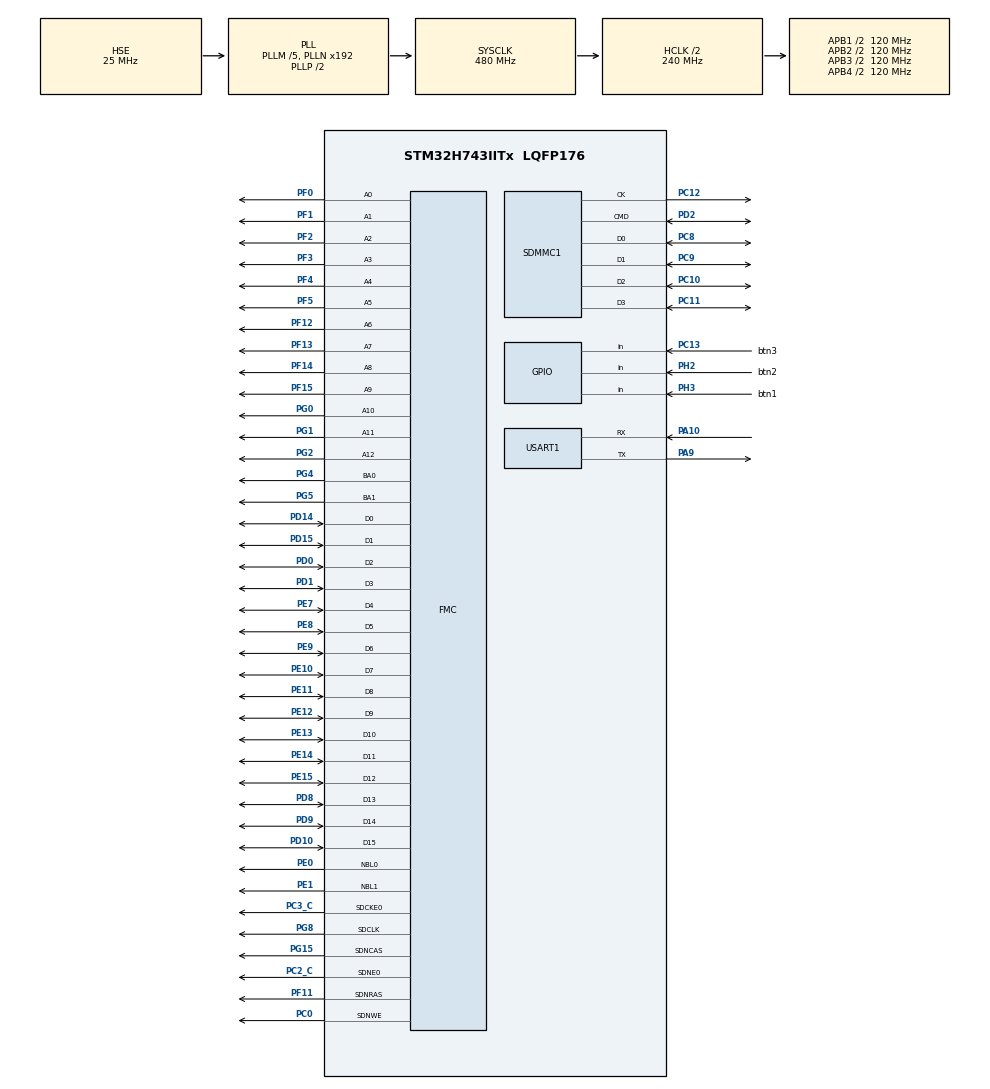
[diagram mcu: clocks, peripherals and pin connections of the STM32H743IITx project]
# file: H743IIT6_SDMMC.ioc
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CORTEX_M7.CPU_ICache=Disabled
CORTEX_M7.MPU_Control=__NULL
CORTEX_M7.default_mode_Activation=1
Dma.Request0=USART1_RX
Dma.Request1=USART1_TX
Dma.USART1_RX.0.Direction=DMA_PERIPH_TO_MEMORY
Dma.USART1_RX.0.EventEnable=DISABLE
Dma.USART1_RX.0.FIFOMode=DMA_FIFOMODE_DISABLE
Dma.USART1_RX.0.Instance=DMA1_Stream0
Dma.USART1_RX.0.MemDataAlignment=DMA_MDATAALIGN_BYTE
Dma.USART1_RX.0.MemInc=DMA_MINC_ENABLE
Dma.USART1_RX.0.Mode=DMA_NORMAL
Dma.USART1_RX.0.PeriphDataAlignment=DMA_PDATAALIGN_BYTE
Dma.USART1_RX.0.PeriphInc=DMA_PINC_DISABLE
Dma.USART1_RX.0.Polarity=HAL_DMAMUX_REQ_GEN_RISING
Dma.USART1_RX.0.Priority=DMA_PRIORITY_LOW
Dma.USART1_RX.0.RequestNumber=1
Dma.USART1_RX.0.SignalID=NONE
Dma.USART1_RX.0.SyncEnable=DISABLE
Dma.USART1_RX.0.SyncPolarity=HAL_DMAMUX_SYNC_NO_EVENT
Dma.USART1_RX.0.SyncRequestNumber=1
Dma.USART1_RX.0.SyncSignalID=NONE
Dma.USART1_TX.1.Direction=DMA_MEMORY_TO_PERIPH
Dma.USART1_TX.1.EventEnable=DISABLE
Dma.USART1_TX.1.FIFOMode=DMA_FIFOMODE_DISABLE
Dma.USART1_TX.1.Instance=DMA1_Stream1
Dma.USART1_TX.1.MemDataAlignment=DMA_MDATAALIGN_BYTE
Dma.USART1_TX.1.MemInc=DMA_MINC_ENABLE
Dma.USART1_TX.1.Mode=DMA_NORMAL
Dma.USART1_TX.1.PeriphDataAlignment=DMA_PDATAALIGN_BYTE
Dma.USART1_TX.1.PeriphInc=DMA_PINC_DISABLE
Dma.USART1_TX.1.Polarity=HAL_DMAMUX_REQ_GEN_RISING
Dma.USART1_TX.1.Priority=DMA_PRIORITY_LOW
Dma.USART1_TX.1.RequestNumber=1
Dma.USART1_TX.1.SignalID=NONE
Dma.USART1_TX.1.SyncEnable=DISABLE
Dma.USART1_TX.1.SyncPolarity=HAL_DMAMUX_SYNC_NO_EVENT
Dma.USART1_TX.1.SyncRequestNumber=1
Dma.USART1_TX.1.SyncSignalID=NONE
FATFS._CODE_PAGE=936
FATFS._USE_LFN=3
FMC.CASLatency1=FMC_SDRAM_CAS_LATENCY_2
FMC.ColumnBitsNumber1=FMC_SDRAM_COLUMN_BITS_NUM_9
FMC.ExitSelfRefreshDelay1=8
FMC.LoadToActiveDelay1=2
FMC.RCDDelay1=2
FMC.RPDelay1=2
FMC.RPDelay2=2
FMC.ReadBurst1=FMC_SDRAM_RBURST_ENABLE
FMC.ReadBurst2=FMC_SDRAM_RBURST_ENABLE
FMC.ReadPipeDelay1=FMC_SDRAM_RPIPE_DELAY_1
FMC.ReadPipeDelay2=FMC_SDRAM_RPIPE_DELAY_1
FMC.RowCycleDelay1=6
FMC.RowCycleDelay2=6
FMC.SDClockPeriod1=FMC_SDRAM_CLOCK_PERIOD_2
FMC.SDClockPeriod2=FMC_SDRAM_CLOCK_PERIOD_2
FMC.SelfRefreshTime1=6
FMC.WriteRecoveryTime1=4
Mcu.Family=STM32H7
Mcu.Name=STM32H743IITx
Mcu.Package=LQFP176
NVIC.DMA1_Stream0_IRQn=true\:0\:0\:false\:false\:true\:false\:true\:true
NVIC.DMA1_Stream1_IRQn=true\:0\:0\:false\:false\:true\:false\:true\:true
NVIC.FMC_IRQn=true\:0\:0\:false\:false\:true\:true\:true\:true
NVIC.PriorityGroup=NVIC_PRIORITYGROUP_4
NVIC.SDMMC1_IRQn=true\:1\:0\:true\:false\:true\:true\:true\:true
NVIC.TIM2_IRQn=true\:0\:0\:false\:false\:true\:true\:true\:true
NVIC.USART1_IRQn=true\:0\:0\:false\:false\:true\:true\:true\:true
PA10.Mode=Asynchronous
PA10.Signal=USART1_RX
PA13\ (JTMS/SWDIO).Mode=Serial_Wire
PA13\ (JTMS/SWDIO).Signal=DEBUG_JTMS-SWDIO
PA14\ (JTCK/SWCLK).Mode=Serial_Wire
PA14\ (JTCK/SWCLK).Signal=DEBUG_JTCK-SWCLK
PA9.Mode=Asynchronous
PA9.Signal=USART1_TX
PC0.Signal=FMC_SDNWE
PC10.Mode=SD_4_bits_Wide_bus
PC10.Signal=SDMMC1_D2
PC11.Mode=SD_4_bits_Wide_bus
PC11.Signal=SDMMC1_D3
PC12.Mode=SD_4_bits_Wide_bus
PC12.Signal=SDMMC1_CK
PC13.GPIO_Label=btn3
PC13.GPIO_PuPd=GPIO_PULLUP
PC13.Signal=GPIO_Input
PC14-OSC32_IN\ (OSC32_IN).Mode=LSE-External-Oscillator
PC14-OSC32_IN\ (OSC32_IN).Signal=RCC_OSC32_IN
PC15-OSC32_OUT\ (OSC32_OUT).Mode=LSE-External-Oscillator
PC15-OSC32_OUT\ (OSC32_OUT).Signal=RCC_OSC32_OUT
PC2_C.Mode=SdramChipSelect1_1
PC2_C.Signal=FMC_SDNE0
PC3_C.Mode=SdramChipSelect1_1
PC3_C.Signal=FMC_SDCKE0
PC8.Mode=SD_4_bits_Wide_bus
PC8.Signal=SDMMC1_D0
PC9.Mode=SD_4_bits_Wide_bus
PC9.Signal=SDMMC1_D1
PD0.Signal=FMC_D2_DA2
PD1.Signal=FMC_D3_DA3
PD10.Signal=FMC_D15_DA15
PD14.Signal=FMC_D0_DA0
PD15.Signal=FMC_D1_DA1
PD2.Mode=SD_4_bits_Wide_bus
PD2.Signal=SDMMC1_CMD
PD8.Signal=FMC_D13_DA13
PD9.Signal=FMC_D14_DA14
PE0.Signal=FMC_NBL0
PE1.Signal=FMC_NBL1
PE10.Signal=FMC_D7_DA7
PE11.Signal=FMC_D8_DA8
PE12.Signal=FMC_D9_DA9
PE13.Signal=FMC_D10_DA10
PE14.Signal=FMC_D11_DA11
PE15.Signal=FMC_D12_DA12
PE7.Signal=FMC_D4_DA4
PE8.Signal=FMC_D5_DA5
PE9.Signal=FMC_D6_DA6
PF0.Signal=FMC_A0
PF1.Signal=FMC_A1
PF11.Signal=FMC_SDNRAS
PF12.Signal=FMC_A6
PF13.Signal=FMC_A7
PF14.Signal=FMC_A8
PF15.Signal=FMC_A9
PF2.Signal=FMC_A2
PF3.Signal=FMC_A3
PF4.Signal=FMC_A4
PF5.Signal=FMC_A5
PG0.Signal=FMC_A10
PG1.Signal=FMC_A11
PG15.Signal=FMC_SDNCAS
PG2.Signal=FMC_A12
PG4.Signal=FMC_A14_BA0
PG5.Signal=FMC_A15_BA1
PG8.Signal=FMC_SDCLK
PH0-OSC_IN\ (PH0).Mode=HSE-External-Oscillator
PH0-OSC_IN\ (PH0).Signal=RCC_OSC_IN
PH1-OSC_OUT\ (PH1).Mode=HSE-External-Oscillator
PH1-OSC_OUT\ (PH1).Signal=RCC_OSC_OUT
PH2.GPIO_Label=btn2
PH2.GPIO_PuPd=GPIO_PULLUP
PH2.Signal=GPIO_Input
PH3.GPIO_Label=btn1
PH3.GPIO_PuPd=GPIO_PULLUP
PH3.Signal=GPIO_Input
ProjectManager.HeapSize=0x800
ProjectManager.StackSize=0x800
ProjectManager.TargetToolchain=STM32CubeIDE
RCC.ADCFreq_Value=480000000
RCC.APB1Freq_Value=120000000
RCC.APB2Freq_Value=120000000
RCC.APB3Freq_Value=120000000
RCC.APB4Freq_Value=120000000
RCC.CortexFreq_Value=480000000
RCC.D1PPRE=RCC_APB3_DIV2
RCC.D2PPRE1=RCC_APB1_DIV2
RCC.D2PPRE2=RCC_APB2_DIV2
RCC.D3PPRE=RCC_APB4_DIV2
RCC.DIVM1=5
RCC.DIVM2=5
RCC.DIVM3=25
RCC.DIVN1=192
RCC.DIVN2=192
RCC.DIVN3=440
RCC.DIVR2=12
RCC.HCLKFreq_Value=240000000
RCC.HPRE=RCC_HCLK_DIV2
RCC.PLLSourceVirtual=RCC_PLLSOURCE_HSE
RCC.RTCClockSelection=RCC_RTCCLKSOURCE_LSE
RCC.SDMMC1CLockSelection=RCC_SDMMCCLKSOURCE_PLL2
RCC.SYSCLKFreq_VALUE=480000000
RCC.SYSCLKSource=RCC_SYSCLKSOURCE_PLLCLK
RCC.USBFreq_Value=480000000
RTC.Date=15
RTC.Format=RTC_FORMAT_BIN
RTC.Hours=11
RTC.Minutes=11
RTC.Month=RTC_MONTH_JULY
RTC.Seconds=11
RTC.WeekDay=RTC_WEEKDAY_TUESDAY
SDMMC1.ClockDiv=5
SH.FMC_A0.0=FMC_A0,13b-sda1
SH.FMC_A1.0=FMC_A1,13b-sda1
SH.FMC_A10.0=FMC_A10,13b-sda1
SH.FMC_A11.0=FMC_A11,13b-sda1
SH.FMC_A12.0=FMC_A12,13b-sda1
SH.FMC_A14_BA0.0=FMC_BA0,FourSdramBanks1
SH.FMC_A15_BA1.0=FMC_BA1,FourSdramBanks1
SH.FMC_A2.0=FMC_A2,13b-sda1
SH.FMC_A3.0=FMC_A3,13b-sda1
SH.FMC_A4.0=FMC_A4,13b-sda1
SH.FMC_A5.0=FMC_A5,13b-sda1
SH.FMC_A6.0=FMC_A6,13b-sda1
SH.FMC_A7.0=FMC_A7,13b-sda1
SH.FMC_A8.0=FMC_A8,13b-sda1
SH.FMC_A9.0=FMC_A9,13b-sda1
SH.FMC_D0_DA0.0=FMC_D0,sd-16b-d1
SH.FMC_D10_DA10.0=FMC_D10,sd-16b-d1
SH.FMC_D11_DA11.0=FMC_D11,sd-16b-d1
SH.FMC_D12_DA12.0=FMC_D12,sd-16b-d1
SH.FMC_D13_DA13.0=FMC_D13,sd-16b-d1
SH.FMC_D14_DA14.0=FMC_D14,sd-16b-d1
SH.FMC_D15_DA15.0=FMC_D15,sd-16b-d1
SH.FMC_D1_DA1.0=FMC_D1,sd-16b-d1
SH.FMC_D2_DA2.0=FMC_D2,sd-16b-d1
SH.FMC_D3_DA3.0=FMC_D3,sd-16b-d1
SH.FMC_D4_DA4.0=FMC_D4,sd-16b-d1
SH.FMC_D5_DA5.0=FMC_D5,sd-16b-d1
SH.FMC_D6_DA6.0=FMC_D6,sd-16b-d1
SH.FMC_D7_DA7.0=FMC_D7,sd-16b-d1
SH.FMC_D8_DA8.0=FMC_D8,sd-16b-d1
SH.FMC_D9_DA9.0=FMC_D9,sd-16b-d1
SH.FMC_NBL0.0=FMC_NBL0,Sd2ByteEnable1
SH.FMC_NBL1.0=FMC_NBL1,Sd2ByteEnable1
SH.FMC_SDCLK.0=FMC_SDCLK,13b-sda1
SH.FMC_SDNCAS.0=FMC_SDNCAS,13b-sda1
SH.FMC_SDNRAS.0=FMC_SDNRAS,13b-sda1
SH.FMC_SDNWE.0=FMC_SDNWE,13b-sda1
TIM2.Period=10000-1
TIM2.Prescaler=24000-1
USART1.VirtualMode-Asynchronous=VM_ASYNC
VP_FATFS_VS_SDIO.Mode=SDIO
VP_MEMORYMAP_VS_MEMORYMAP.Mode=CurAppReg
VP_RTC_VS_RTC_Activate.Mode=RTC_Enabled
VP_RTC_VS_RTC_Calendar.Mode=RTC_Calendar
VP_TIM2_VS_ClockSourceINT.Mode=Internal
board=custom

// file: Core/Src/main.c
/* USER CODE BEGIN Header */
/**
  ******************************************************************************
  * @file           : main.c
  * @brief          : Main program body
  ******************************************************************************
  * @attention
  *
  * Copyright (c) 2025 STMicroelectronics.
  * All rights reserved.
  *
  * This software is licensed under terms that can be found in the LICENSE file
  * in the root directory of this software component.
  * If no LICENSE file comes with this software, it is provided AS-IS.
  *
  ******************************************************************************
  */
/* USER CODE END Header */
#include "main.h"
#include "dma.h"
#include "fatfs.h"
#include "rtc.h"
#include "sdmmc.h"
#include "tim.h"
#include "usart.h"
#include "gpio.h"
#include "fmc.h"

/* USER CODE BEGIN Includes */
#include "string.h"
#include "retarget.h"		//printf函数重映射

#include "sys/sys.h"
#include "delay/delay.h"
#include "button_event/Button_event.h"
//#include "RGB_LCD/RGB_LCD.h"
#include "W9825G6KH/W9825G6KH.h"
#include "sdram/sdram_test.h"
#include "sd_card/sd_card.h"

/* USER CODE END Includes */

/* USER CODE BEGIN PV */

uint16_t fps = 0, fps_max = 0;

//uint16_t testsram[250000] __attribute__((section(".sdram_section")));//sdram测试用数组

/* USER CODE END PV */

void SystemClock_Config(void);

/* USER CODE BEGIN 0 */

//重定义'定时器周期回调'函数
void HAL_TIM_PeriodElapsedCallback(TIM_HandleTypeDef *htim){	//1S周期回调
	if(htim == &htim2){
		if(fps_max - fps < -1 || fps_max - fps > 1)
		{
			fps_max = fps;
		}

		printf("H7\n");
		fps++;
	}
}

char receivData[50] = {0};//存放接收内容(记得初始化)
uint8_t dataReady;//发送标志位
//重定义'串口事件回调'函数
void HAL_UARTEx_RxEventCallback(UART_HandleTypeDef *huart, uint16_t Size){
	if(huart == &huart1){
		dataReady = 1;//在主函数里处理发送

		//处理数据...

		HAL_UARTEx_ReceiveToIdle_DMA(&huart1, (uint8_t*)receivData, 50);
		__HAL_DMA_DISABLE_IT(&hdma_usart1_rx,DMA_IT_HT);//关闭DMA接收过半中断
	}
}

/* USER CODE END 0 */

int main(void)
{

  /* MCU Configuration--------------------------------------------------------*/

  /* Reset of all peripherals, Initializes the Flash interface and the Systick. */
  HAL_Init();

  /* Configure the system clock */
  SystemClock_Config();

  /* Initialize all configured peripherals */
  MX_GPIO_Init();
  MX_DMA_Init();
  MX_TIM2_Init();
  MX_USART1_UART_Init();
  MX_SDMMC1_SD_Init();
  MX_FMC_Init();
  MX_RTC_Init();
  MX_FATFS_Init();
  /* USER CODE BEGIN 2 */

  delay_init(480);

  RetargetInit(&huart1);//将printf()函数映射到UART1串口上
  Button_Init();//初始化按键

  SDRAM_InitSequence();//W9825G6KH初始化

  //SD卡测试
  printf("\r\n");

  SDCard_ShowInfo();

  SDCard_EraseBlocks(0,10);

  SDCard_TestWrite();

  SDCard_TestRead();

  SDCard_TestWrite_DMA();
  SDCard_TestRead_DMA();
  printf("SD:%lu\r\n",HAL_SD_GetCardState(&hsd1));

  //fsmc_sdram_test();

  HAL_TIM_Base_Start_IT(&htim2);//开启定时
  /* USER CODE END 2 */

  /* Infinite loop */
  /* USER CODE BEGIN WHILE */
	HAL_UARTEx_ReceiveToIdle_DMA(&huart1, (uint8_t*)receivData, 50);//开启串口接收
	__HAL_DMA_DISABLE_IT(&hdma_usart1_rx,DMA_IT_HT);
  while (1)
  {
	if (dataReady) {
		// 处理activeBuffer中的数据
		HAL_UART_Transmit_DMA(&huart1, (uint8_t*)receivData, strlen(receivData));
		dataReady = 0;
	}

	Button_UPDATE();

	//dosomething...

    /* USER CODE END WHILE */

  }
}

void SystemClock_Config(void)
{
  RCC_OscInitTypeDef RCC_OscInitStruct = {0};
  RCC_ClkInitTypeDef RCC_ClkInitStruct = {0};

  /** Supply configuration update enable
  */
  HAL_PWREx_ConfigSupply(PWR_LDO_SUPPLY);

  /** Configure the main internal regulator output voltage
  */
  __HAL_PWR_VOLTAGESCALING_CONFIG(PWR_REGULATOR_VOLTAGE_SCALE0);

  while(!__HAL_PWR_GET_FLAG(PWR_FLAG_VOSRDY)) {}

  /** Configure LSE Drive Capability
  */
  HAL_PWR_EnableBkUpAccess();
  __HAL_RCC_LSEDRIVE_CONFIG(RCC_LSEDRIVE_LOW);

  /** Initializes the RCC Oscillators according to the specified parameters
  * in the RCC_OscInitTypeDef structure.
  */
  RCC_OscInitStruct.OscillatorType = RCC_OSCILLATORTYPE_HSE|RCC_OSCILLATORTYPE_LSE;
  RCC_OscInitStruct.HSEState = RCC_HSE_ON;
  RCC_OscInitStruct.LSEState = RCC_LSE_ON;
  RCC_OscInitStruct.PLL.PLLState = RCC_PLL_ON;
  RCC_OscInitStruct.PLL.PLLSource = RCC_PLLSOURCE_HSE;
  RCC_OscInitStruct.PLL.PLLM = 5;
  RCC_OscInitStruct.PLL.PLLN = 192;
  RCC_OscInitStruct.PLL.PLLP = 2;
  RCC_OscInitStruct.PLL.PLLQ = 2;
  RCC_OscInitStruct.PLL.PLLR = 2;
  RCC_OscInitStruct.PLL.PLLRGE = RCC_PLL1VCIRANGE_2;
  RCC_OscInitStruct.PLL.PLLVCOSEL = RCC_PLL1VCOWIDE;
  RCC_OscInitStruct.PLL.PLLFRACN = 0;
  if (HAL_RCC_OscConfig(&RCC_OscInitStruct) != HAL_OK)
  {
    Error_Handler();
  }

  /** Initializes the CPU, AHB and APB buses clocks
  */
  RCC_ClkInitStruct.ClockType = RCC_CLOCKTYPE_HCLK|RCC_CLOCKTYPE_SYSCLK
                              |RCC_CLOCKTYPE_PCLK1|RCC_CLOCKTYPE_PCLK2
                              |RCC_CLOCKTYPE_D3PCLK1|RCC_CLOCKTYPE_D1PCLK1;
  RCC_ClkInitStruct.SYSCLKSource = RCC_SYSCLKSOURCE_PLLCLK;
  RCC_ClkInitStruct.SYSCLKDivider = RCC_SYSCLK_DIV1;
  RCC_ClkInitStruct.AHBCLKDivider = RCC_HCLK_DIV2;
  RCC_ClkInitStruct.APB3CLKDivider = RCC_APB3_DIV2;
  RCC_ClkInitStruct.APB1CLKDivider = RCC_APB1_DIV2;
  RCC_ClkInitStruct.APB2CLKDivider = RCC_APB2_DIV2;
  RCC_ClkInitStruct.APB4CLKDivider = RCC_APB4_DIV2;

  if (HAL_RCC_ClockConfig(&RCC_ClkInitStruct, FLASH_LATENCY_4) != HAL_OK)
  {
    Error_Handler();
  }
}

void Error_Handler(void)
{
  __disable_irq();
  while (1)
  {
  }
}
